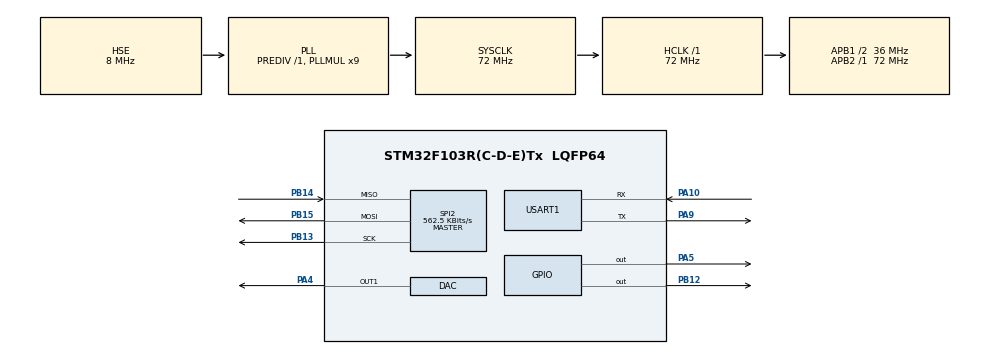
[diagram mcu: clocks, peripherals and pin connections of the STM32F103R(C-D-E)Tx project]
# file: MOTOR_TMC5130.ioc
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Mcu.Family=STM32F1
Mcu.Name=STM32F103R(C-D-E)Tx
Mcu.Package=LQFP64
NVIC.PriorityGroup=NVIC_PRIORITYGROUP_4
PA10.Mode=Asynchronous
PA10.Signal=USART1_RX
PA13.Mode=Serial_Wire
PA13.Signal=SYS_JTMS-SWDIO
PA14.Mode=Serial_Wire
PA14.Signal=SYS_JTCK-SWCLK
PA4.Signal=COMP_DAC1_group
PA5.GPIO_ModeDefaultOutputPP=GPIO_MODE_OUTPUT_PP
PA5.GPIO_PuPd=GPIO_NOPULL
PA5.GPIO_Speed=GPIO_SPEED_FREQ_LOW
PA5.PinState=GPIO_PIN_RESET
PA5.Signal=GPIO_Output
PA9.Mode=Asynchronous
PA9.Signal=USART1_TX
PB12.PinState=GPIO_PIN_RESET
PB12.Signal=GPIO_Output
PB13.Mode=Full_Duplex_Master
PB13.Signal=SPI2_SCK
PB14.Mode=Full_Duplex_Master
PB14.Signal=SPI2_MISO
PB15.Mode=Full_Duplex_Master
PB15.Signal=SPI2_MOSI
PD0-OSC_IN.Mode=HSE-External-Oscillator
PD0-OSC_IN.Signal=RCC_OSC_IN
PD1-OSC_OUT.Mode=HSE-External-Oscillator
PD1-OSC_OUT.Signal=RCC_OSC_OUT
ProjectManager.HeapSize=0x200
ProjectManager.StackSize=0x400
ProjectManager.TargetToolchain=STM32CubeIDE
RCC.AHBFreq_Value=72000000
RCC.APB1CLKDivider=RCC_HCLK_DIV2
RCC.APB1Freq_Value=36000000
RCC.APB1TimFreq_Value=72000000
RCC.APB2Freq_Value=72000000
RCC.APB2TimFreq_Value=72000000
RCC.HCLKFreq_Value=72000000
RCC.PLLMUL=RCC_PLL_MUL9
RCC.PLLSourceVirtual=RCC_PLLSOURCE_HSE
RCC.SYSCLKFreq_VALUE=72000000
RCC.SYSCLKSource=RCC_SYSCLKSOURCE_PLLCLK
RCC.USBFreq_Value=72000000
SH.COMP_DAC1_group.0=DAC_OUT1,DAC_OUT1
SPI2.BaudRatePrescaler=SPI_BAUDRATEPRESCALER_64
SPI2.CLKPhase=SPI_PHASE_2EDGE
SPI2.CLKPolarity=SPI_POLARITY_HIGH
SPI2.CalculateBaudRate=562.5 KBits/s
SPI2.Direction=SPI_DIRECTION_2LINES
SPI2.Mode=SPI_MODE_MASTER
SPI2.VirtualType=VM_MASTER
USART1.VirtualMode=VM_ASYNC
board=custom

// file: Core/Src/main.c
/* USER CODE BEGIN Header */
/**
  ******************************************************************************
  * @file           : main.c
  * @brief          : Main program body
  ******************************************************************************
  * @attention
  *
  * Copyright (c) 2024 STMicroelectronics.
  * All rights reserved.
  *
  * This software is licensed under terms that can be found in the LICENSE file
  * in the root directory of this software component.
  * If no LICENSE file comes with this software, it is provided AS-IS.
  *
  ******************************************************************************
  */
/* USER CODE END Header */
#include "main.h"

/* USER CODE BEGIN Includes */
#include "TMC5130.h"
/* USER CODE END Includes */

DAC_HandleTypeDef hdac;

SPI_HandleTypeDef hspi2;

UART_HandleTypeDef huart1;

void SystemClock_Config(void);
static void MX_GPIO_Init(void);
static void MX_SPI2_Init(void);
static void MX_USART1_UART_Init(void);
static void MX_DAC_Init(void);

int main(void)
{

  /* USER CODE BEGIN 1 */
	TMC5130TypeDef stepper = {
	    .home_state = HOME,           // 假设 HOMING_IDLE 是归位状态的某个枚举�??
	    .prev_home_state = HOME,     // 上一个归位状�??
	    .control_type = INTERNAL, // 假设控制类型为位置控�??
	    .spi = &hspi2,                      // SPI 句柄
	    .drvstat = 0,                       // 驱动器状�??
	    .sg_flag = 0,                       // 步进信号标志
	    .sg_result = 0,                     // 步进信号结果
	    .cs_actual = 0,                     // 当前电流控制�??
	    .rampstat = 0,                      // 电机加�??/减�?�?
	    .homing_done = 0,                   // 归位是否完成标志

	    // 初始�?? GPIO 端口和引�??
	    .cs_port = GPIOB,                   // 假设 SPI 片�?�引脚在 GPIOB
	    .cs_pin = GPIO_PIN_12,              // 片�?�引脚编�??
	    .en_port = GPIOA,                   // 假设使能引脚�?? GPIOA �??
	    .en_pin = GPIO_PIN_4                // 使能引脚编号
	};
  /* USER CODE END 1 */

  /* MCU Configuration--------------------------------------------------------*/

  /* Reset of all peripherals, Initializes the Flash interface and the Systick. */
  HAL_Init();

  /* Configure the system clock */
  SystemClock_Config();

  /* Initialize all configured peripherals */
  MX_GPIO_Init();
  MX_SPI2_Init();
  MX_USART1_UART_Init();
  MX_DAC_Init();
  /* USER CODE BEGIN 2 */
//  stpr_enableDriver(stepper);
  stpr_initStepper(&stepper,&hspi2, GPIOB, GPIO_PIN_12, 1, 20);
//  while(1)
//  {
	  stpr_moveTo(&stepper, 45*1600*32, 1600*3*32);
	  stpr_waitMove(&stepper);
	  stpr_moveTo(&stepper, 0, 1600*3*32);
	  stpr_waitMove(&stepper);
//  }
  /* USER CODE END 2 */

  /* Infinite loop */
  while (1)
  {

    /* USER CODE BEGIN 3 */
//	HAL_SPI_Transmit(&hspi2, data, 5, HAL_MAX_DELAY);
  }
  /* USER CODE END 3 */
}

void SystemClock_Config(void)
{
  RCC_OscInitTypeDef RCC_OscInitStruct = {0};
  RCC_ClkInitTypeDef RCC_ClkInitStruct = {0};

  /** Initializes the RCC Oscillators according to the specified parameters
  * in the RCC_OscInitTypeDef structure.
  */
  RCC_OscInitStruct.OscillatorType = RCC_OSCILLATORTYPE_HSE;
  RCC_OscInitStruct.HSEState = RCC_HSE_ON;
  RCC_OscInitStruct.HSEPredivValue = RCC_HSE_PREDIV_DIV1;
  RCC_OscInitStruct.HSIState = RCC_HSI_ON;
  RCC_OscInitStruct.PLL.PLLState = RCC_PLL_ON;
  RCC_OscInitStruct.PLL.PLLSource = RCC_PLLSOURCE_HSE;
  RCC_OscInitStruct.PLL.PLLMUL = RCC_PLL_MUL9;
  if (HAL_RCC_OscConfig(&RCC_OscInitStruct) != HAL_OK)
  {
    Error_Handler();
  }

  /** Initializes the CPU, AHB and APB buses clocks
  */
  RCC_ClkInitStruct.ClockType = RCC_CLOCKTYPE_HCLK|RCC_CLOCKTYPE_SYSCLK
                              |RCC_CLOCKTYPE_PCLK1|RCC_CLOCKTYPE_PCLK2;
  RCC_ClkInitStruct.SYSCLKSource = RCC_SYSCLKSOURCE_PLLCLK;
  RCC_ClkInitStruct.AHBCLKDivider = RCC_SYSCLK_DIV1;
  RCC_ClkInitStruct.APB1CLKDivider = RCC_HCLK_DIV2;
  RCC_ClkInitStruct.APB2CLKDivider = RCC_HCLK_DIV1;

  if (HAL_RCC_ClockConfig(&RCC_ClkInitStruct, FLASH_LATENCY_2) != HAL_OK)
  {
    Error_Handler();
  }
}

static void MX_DAC_Init(void)
{

  DAC_ChannelConfTypeDef sConfig = {0};

  /** DAC Initialization
  */
  hdac.Instance = DAC;
  if (HAL_DAC_Init(&hdac) != HAL_OK)
  {
    Error_Handler();
  }

  /** DAC channel OUT1 config
  */
  sConfig.DAC_Trigger = DAC_TRIGGER_NONE;
  sConfig.DAC_OutputBuffer = DAC_OUTPUTBUFFER_ENABLE;
  if (HAL_DAC_ConfigChannel(&hdac, &sConfig, DAC_CHANNEL_1) != HAL_OK)
  {
    Error_Handler();
  }

}

static void MX_SPI2_Init(void)
{

  /* SPI2 parameter configuration*/
  hspi2.Instance = SPI2;
  hspi2.Init.Mode = SPI_MODE_MASTER;
  hspi2.Init.Direction = SPI_DIRECTION_2LINES;
  hspi2.Init.DataSize = SPI_DATASIZE_8BIT;
  hspi2.Init.CLKPolarity = SPI_POLARITY_HIGH;
  hspi2.Init.CLKPhase = SPI_PHASE_2EDGE;
  hspi2.Init.NSS = SPI_NSS_SOFT;
  hspi2.Init.BaudRatePrescaler = SPI_BAUDRATEPRESCALER_64;
  hspi2.Init.FirstBit = SPI_FIRSTBIT_MSB;
  hspi2.Init.TIMode = SPI_TIMODE_DISABLE;
  hspi2.Init.CRCCalculation = SPI_CRCCALCULATION_DISABLE;
  hspi2.Init.CRCPolynomial = 10;
  if (HAL_SPI_Init(&hspi2) != HAL_OK)
  {
    Error_Handler();
  }

}

static void MX_USART1_UART_Init(void)
{

  huart1.Instance = USART1;
  huart1.Init.BaudRate = 115200;
  huart1.Init.WordLength = UART_WORDLENGTH_8B;
  huart1.Init.StopBits = UART_STOPBITS_1;
  huart1.Init.Parity = UART_PARITY_NONE;
  huart1.Init.Mode = UART_MODE_TX_RX;
  huart1.Init.HwFlowCtl = UART_HWCONTROL_NONE;
  huart1.Init.OverSampling = UART_OVERSAMPLING_16;
  if (HAL_UART_Init(&huart1) != HAL_OK)
  {
    Error_Handler();
  }

}

static void MX_GPIO_Init(void)
{
  GPIO_InitTypeDef GPIO_InitStruct = {0};

  /* GPIO Ports Clock Enable */
  __HAL_RCC_GPIOD_CLK_ENABLE();
  __HAL_RCC_GPIOA_CLK_ENABLE();
  __HAL_RCC_GPIOB_CLK_ENABLE();

  /*Configure GPIO pin Output Level */
  HAL_GPIO_WritePin(GPIOA, GPIO_PIN_5, GPIO_PIN_RESET);

  /*Configure GPIO pin Output Level */
  HAL_GPIO_WritePin(GPIOB, GPIO_PIN_12, GPIO_PIN_RESET);

  /*Configure GPIO pin : PA5 */
  GPIO_InitStruct.Pin = GPIO_PIN_5;
  GPIO_InitStruct.Mode = GPIO_MODE_OUTPUT_PP;
  GPIO_InitStruct.Pull = GPIO_NOPULL;
  GPIO_InitStruct.Speed = GPIO_SPEED_FREQ_LOW;
  HAL_GPIO_Init(GPIOA, &GPIO_InitStruct);

  /*Configure GPIO pin : PB12 */
  GPIO_InitStruct.Pin = GPIO_PIN_12;
  GPIO_InitStruct.Mode = GPIO_MODE_OUTPUT_PP;
  GPIO_InitStruct.Pull = GPIO_NOPULL;
  GPIO_InitStruct.Speed = GPIO_SPEED_FREQ_LOW;
  HAL_GPIO_Init(GPIOB, &GPIO_InitStruct);

}

void Error_Handler(void)
{
  __disable_irq();
  while (1)
  {
  }
}
